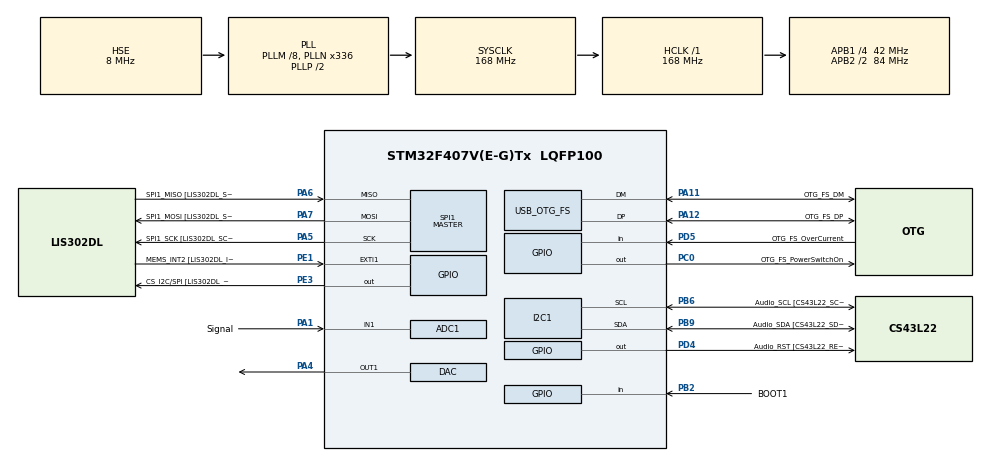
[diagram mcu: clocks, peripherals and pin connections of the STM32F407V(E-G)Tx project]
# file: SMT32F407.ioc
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ADC1.Channel-4\#ChannelRegularConversion=ADC_CHANNEL_1
ADC1.ClockPrescaler=ADC_CLOCK_SYNC_PCLK_DIV4
ADC1.ContinuousConvMode=ENABLE
ADC1.DMAContinuousRequests=ENABLE
ADC1.DataAlign=ADC_DATAALIGN_RIGHT
ADC1.DiscontinuousConvMode=DISABLE
ADC1.EOCSelection=ADC_EOC_SINGLE_CONV
ADC1.EnableAnalogWatchDog=false
ADC1.ExternalTrigConv=ADC_SOFTWARE_START
ADC1.ExternalTrigConvEdge=ADC_EXTERNALTRIGCONVEDGE_NONE
ADC1.InjNumberOfConversion=0
ADC1.NbrOfConversion=1
ADC1.NbrOfConversionFlag=1
ADC1.Rank-4\#ChannelRegularConversion=1
ADC1.Resolution=ADC_RESOLUTION_12B
ADC1.SamplingTime-4\#ChannelRegularConversion=ADC_SAMPLETIME_3CYCLES
ADC1.ScanConvMode=ENABLE
ADC1.master=1
Dma.ADC1.0.Direction=DMA_PERIPH_TO_MEMORY
Dma.ADC1.0.FIFOMode=DMA_FIFOMODE_DISABLE
Dma.ADC1.0.Instance=DMA2_Stream0
Dma.ADC1.0.MemDataAlignment=DMA_MDATAALIGN_HALFWORD
Dma.ADC1.0.MemInc=DMA_MINC_ENABLE
Dma.ADC1.0.Mode=DMA_CIRCULAR
Dma.ADC1.0.PeriphDataAlignment=DMA_PDATAALIGN_HALFWORD
Dma.ADC1.0.PeriphInc=DMA_PINC_DISABLE
Dma.ADC1.0.Priority=DMA_PRIORITY_LOW
Dma.Request0=ADC1
Mcu.Family=STM32F4
Mcu.Name=STM32F407V(E-G)Tx
Mcu.Package=LQFP100
NVIC.DMA2_Stream0_IRQn=true\:0\:0\:false\:false\:true\:false
NVIC.OTG_FS_IRQn=true\:0\:0\:false\:false\:true\:false
NVIC.PriorityGroup=NVIC_PRIORITYGROUP_0
NVIC.TIM3_IRQn=true\:0\:0\:false\:false\:true\:true
PA0-WKUP.Signal=UART4_TX
PA1.GPIO_Label=Signal
PA1.Signal=ADCx_IN1
PA10.GPIO_Label=OTG_FS_ID
PA10.GPIO_Mode=GPIO_MODE_AF_PP
PA10.GPIO_PuPd=GPIO_NOPULL
PA10.GPIO_Speed=GPIO_SPEED_FREQ_LOW
PA10.Signal=USB_OTG_FS_ID
PA11.GPIO_Label=OTG_FS_DM
PA11.GPIO_Mode=GPIO_MODE_AF_PP
PA11.GPIO_PuPd=GPIO_NOPULL
PA11.GPIO_Speed=GPIO_SPEED_FREQ_LOW
PA11.Mode=Device_Only
PA11.Signal=USB_OTG_FS_DM
PA12.GPIO_Label=OTG_FS_DP
PA12.GPIO_Mode=GPIO_MODE_AF_PP
PA12.GPIO_PuPd=GPIO_NOPULL
PA12.GPIO_Speed=GPIO_SPEED_FREQ_LOW
PA12.Mode=Device_Only
PA12.Signal=USB_OTG_FS_DP
PA13.GPIO_Label=SWDIO
PA13.Mode=Serial_Wire
PA13.Signal=SYS_JTMS-SWDIO
PA14.GPIO_Label=SWCLK
PA14.Mode=Serial_Wire
PA14.Signal=SYS_JTCK-SWCLK
PA4.Signal=COMP_DAC1_group
PA5.GPIO_Label=SPI1_SCK [LIS302DL_SCL/SPC]
PA5.GPIO_Mode=GPIO_MODE_AF_PP
PA5.GPIO_PuPd=GPIO_NOPULL
PA5.GPIO_Speed=GPIO_SPEED_FREQ_LOW
PA5.Mode=Full_Duplex_Master
PA5.Signal=SPI1_SCK
PA6.GPIO_Label=SPI1_MISO [LIS302DL_SDO]
PA6.GPIO_Mode=GPIO_MODE_AF_PP
PA6.GPIO_PuPd=GPIO_NOPULL
PA6.GPIO_Speed=GPIO_SPEED_FREQ_LOW
PA6.Mode=Full_Duplex_Master
PA6.Signal=SPI1_MISO
PA7.GPIO_Label=SPI1_MOSI [LIS302DL_SDA/SDI/SDO]
PA7.GPIO_Mode=GPIO_MODE_AF_PP
PA7.GPIO_PuPd=GPIO_NOPULL
PA7.GPIO_Speed=GPIO_SPEED_FREQ_LOW
PA7.Mode=Full_Duplex_Master
PA7.Signal=SPI1_MOSI
PA9.GPIO_Label=VBUS_FS
PA9.GPIO_Mode=GPIO_MODE_INPUT
PA9.GPIO_PuPd=GPIO_NOPULL
PA9.Signal=USB_OTG_FS_VBUS
PB10.GPIO_Label=CLK_IN [MP45DT02_CLK]
PB10.GPIO_Mode=GPIO_MODE_AF_PP
PB10.GPIO_PuPd=GPIO_NOPULL
PB10.GPIO_Speed=GPIO_SPEED_FREQ_LOW
PB10.Signal=I2S2_CK
PB2.GPIO_Label=BOOT1
PB2.GPIO_Mode=GPIO_MODE_INPUT
PB2.GPIO_PuPd=GPIO_NOPULL
PB2.Signal=GPIO_Input
PB3.GPIO_Label=SWO
PB3.Signal=SYS_JTDO-SWO
PB6.GPIO_Label=Audio_SCL [CS43L22_SCL]
PB6.GPIO_Mode=GPIO_MODE_AF_OD
PB6.GPIO_PuPd=GPIO_NOPULL
PB6.GPIO_Speed=GPIO_SPEED_FREQ_LOW
PB6.Mode=I2C
PB6.Signal=I2C1_SCL
PB9.GPIO_Label=Audio_SDA [CS43L22_SDA]
PB9.GPIO_Mode=GPIO_MODE_AF_OD
PB9.GPIO_PuPd=GPIO_NOPULL
PB9.GPIO_Speed=GPIO_SPEED_FREQ_LOW
PB9.Mode=I2C
PB9.Signal=I2C1_SDA
PC0.GPIO_Label=OTG_FS_PowerSwitchOn
PC0.GPIO_PuPd=GPIO_NOPULL
PC0.GPIO_Speed=GPIO_SPEED_FREQ_LOW
PC0.PinState=GPIO_PIN_SET
PC0.Signal=GPIO_Output
PC10.GPIO_Label=I2S3_SCK [CS43L22_SCLK]
PC10.GPIO_Mode=GPIO_MODE_AF_PP
PC10.GPIO_PuPd=GPIO_NOPULL
PC10.GPIO_Speed=GPIO_SPEED_FREQ_LOW
PC10.Signal=I2S3_CK
PC12.GPIO_Label=I2S3_SD [CS43L22_SDIN]
PC12.GPIO_Mode=GPIO_MODE_AF_PP
PC12.GPIO_PuPd=GPIO_NOPULL
PC12.GPIO_Speed=GPIO_SPEED_FREQ_LOW
PC12.Signal=I2S3_SD
PC14-OSC32_IN.GPIO_Label=PC14-OSC32_IN
PC14-OSC32_IN.Mode=LSE-External-Oscillator
PC14-OSC32_IN.Signal=RCC_OSC32_IN
PC15-OSC32_OUT.GPIO_Label=PC15-OSC32_OUT
PC15-OSC32_OUT.Mode=LSE-External-Oscillator
PC15-OSC32_OUT.Signal=RCC_OSC32_OUT
PC3.GPIO_Label=PDM_OUT [MP45DT02_DOUT]
PC3.GPIO_Mode=GPIO_MODE_AF_PP
PC3.GPIO_PuPd=GPIO_NOPULL
PC3.GPIO_Speed=GPIO_SPEED_FREQ_LOW
PC3.Signal=I2S2_SD
PC7.GPIO_Label=I2S3_MCK [CS43L22_MCLK]
PC7.GPIO_Mode=GPIO_MODE_AF_PP
PC7.GPIO_PuPd=GPIO_NOPULL
PC7.GPIO_Speed=GPIO_SPEED_FREQ_LOW
PC7.Signal=I2S3_MCK
PD4.GPIO_Label=Audio_RST [CS43L22_RESET]
PD4.GPIO_PuPd=GPIO_NOPULL
PD4.GPIO_Speed=GPIO_SPEED_FREQ_LOW
PD4.Signal=GPIO_Output
PD5.GPIO_Label=OTG_FS_OverCurrent
PD5.GPIO_Mode=GPIO_MODE_INPUT
PD5.GPIO_PuPd=GPIO_NOPULL
PD5.Signal=GPIO_Input
PE1.GPIO_Label=MEMS_INT2 [LIS302DL_INT2]
PE1.GPIO_ModeDefaultEXTI=GPIO_MODE_EVT_RISING
PE1.GPIO_PuPd=GPIO_NOPULL
PE1.Signal=GPXTI1
PE3.GPIO_Label=CS_I2C/SPI [LIS302DL_CS_I2C/SPI]
PE3.GPIO_PuPd=GPIO_NOPULL
PE3.GPIO_Speed=GPIO_SPEED_FREQ_LOW
PE3.Signal=GPIO_Output
PH0-OSC_IN.GPIO_Label=PH0-OSC_IN
PH0-OSC_IN.Mode=HSE-External-Oscillator
PH0-OSC_IN.Signal=RCC_OSC_IN
PH1-OSC_OUT.GPIO_Label=PH1-OSC_OUT
PH1-OSC_OUT.Mode=HSE-External-Oscillator
PH1-OSC_OUT.Signal=RCC_OSC_OUT
ProjectManager.HeapSize=0x200
ProjectManager.StackSize=0x400
ProjectManager.TargetToolchain=SW4STM32
RCC.48MHZClocksFreq_Value=48000000
RCC.AHBFreq_Value=168000000
RCC.APB1CLKDivider=RCC_HCLK_DIV4
RCC.APB1Freq_Value=42000000
RCC.APB1TimFreq_Value=84000000
RCC.APB2CLKDivider=RCC_HCLK_DIV2
RCC.APB2Freq_Value=84000000
RCC.APB2TimFreq_Value=168000000
RCC.CortexFreq_Value=168000000
RCC.HCLKFreq_Value=168000000
RCC.HSE_VALUE=8000000
RCC.HSI_VALUE=16000000
RCC.PLLM=8
RCC.PLLN=336
RCC.PLLQ=7
RCC.SYSCLKFreq_VALUE=168000000
RCC.SYSCLKSource=RCC_SYSCLKSOURCE_PLLCLK
RCC.VCOOutputFreq_Value=336000000
SH.ADCx_IN1.0=ADC1_IN1,IN1
SH.COMP_DAC1_group.0=DAC_OUT1,DAC_OUT1
SPI1.BaudRatePrescaler-Full_Duplex_Master=SPI_BAUDRATEPRESCALER_2
SPI1.CalculateBaudRate-Full_Duplex_Master=42.0 MBits/s
SPI1.Direction=SPI_DIRECTION_2LINES
SPI1.Mode=SPI_MODE_MASTER
SPI1.Mode-Full_Duplex_Master=SPI_MODE_MASTER
SPI1.VirtualType=VM_MASTER
TIM3.ClockDivision=TIM_CLOCKDIVISION_DIV1
TIM3.Period=1
TIM3.Prescaler=1749
USB_DEVICE.CLASS_NAME_FS=CDC
USB_DEVICE.VirtualMode-CDC_FS=Cdc
USB_DEVICE.VirtualModeFS=Cdc_FS
USB_OTG_FS.VirtualMode=Device_Only
VP_TIM3_VS_ClockSourceINT.Mode=Internal
VP_USB_DEVICE_VS_USB_DEVICE_CDC_FS.Mode=CDC_FS
board=STM32F4DISCOVERY

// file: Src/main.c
/**
  ******************************************************************************
  * @file           : main.c
  * @brief          : Main program body
  ******************************************************************************
  * This notice applies to any and all portions of this file
  * that are not between comment pairs USER CODE BEGIN and
  * USER CODE END. Other portions of this file, whether
  * inserted by the user or by software development tools
  * are owned by their respective copyright owners.
  *
  * Copyright (c) 2018 STMicroelectronics International N.V.
  * All rights reserved.
  *
  * Redistribution and use in source and binary forms, with or without
  * modification, are permitted, provided that the following conditions are met:
  *
  * 1. Redistribution of source code must retain the above copyright notice,
  *    this list of conditions and the following disclaimer.
  * 2. Redistributions in binary form must reproduce the above copyright notice,
  *    this list of conditions and the following disclaimer in the documentation
  *    and/or other materials provided with the distribution.
  * 3. Neither the name of STMicroelectronics nor the names of other
  *    contributors to this software may be used to endorse or promote products
  *    derived from this software without specific written permission.
  * 4. This software, including modifications and/or derivative works of this
  *    software, must execute solely and exclusively on microcontroller or
  *    microprocessor devices manufactured by or for STMicroelectronics.
  * 5. Redistribution and use of this software other than as permitted under
  *    this license is void and will automatically terminate your rights under
  *    this license.
  *
  * THIS SOFTWARE IS PROVIDED BY STMICROELECTRONICS AND CONTRIBUTORS "AS IS"
  * AND ANY EXPRESS, IMPLIED OR STATUTORY WARRANTIES, INCLUDING, BUT NOT
  * LIMITED TO, THE IMPLIED WARRANTIES OF MERCHANTABILITY, FITNESS FOR A
  * PARTICULAR PURPOSE AND NON-INFRINGEMENT OF THIRD PARTY INTELLECTUAL PROPERTY
  * RIGHTS ARE DISCLAIMED TO THE FULLEST EXTENT PERMITTED BY LAW. IN NO EVENT
  * SHALL STMICROELECTRONICS OR CONTRIBUTORS BE LIABLE FOR ANY DIRECT, INDIRECT,
  * INCIDENTAL, SPECIAL, EXEMPLARY, OR CONSEQUENTIAL DAMAGES (INCLUDING, BUT NOT
  * LIMITED TO, PROCUREMENT OF SUBSTITUTE GOODS OR SERVICES; LOSS OF USE, DATA,
  * OR PROFITS; OR BUSINESS INTERRUPTION) HOWEVER CAUSED AND ON ANY THEORY OF
  * LIABILITY, WHETHER IN CONTRACT, STRICT LIABILITY, OR TORT (INCLUDING
  * NEGLIGENCE OR OTHERWISE) ARISING IN ANY WAY OUT OF THE USE OF THIS SOFTWARE,
  * EVEN IF ADVISED OF THE POSSIBILITY OF SUCH DAMAGE.
  *
  ******************************************************************************
  */
#include "main.h"
#include "stm32f4xx_hal.h"
#include "usb_device.h"

/* USER CODE BEGIN Includes */
#include <stdio.h>
#include <stdlib.h>
#include <math.h>
#include <string.h>
#include "usbd_cdc_if.h"
/* USER CODE END Includes */

ADC_HandleTypeDef hadc1;
DMA_HandleTypeDef hdma_adc1;

DAC_HandleTypeDef hdac;

I2C_HandleTypeDef hi2c1;

SPI_HandleTypeDef hspi1;

TIM_HandleTypeDef htim3;

/* USER CODE BEGIN PV */
/* Private variables ---------------------------------------------------------*/

/*---------------Variables globale---------------------*/
uint16_t Fe = 48000; //Fréquence d'échantillonnage
uint16_t DAC_data;
uint16_t ADC_data[1];

int i = 0;

/*---------------Variables filtres---------------------*/
uint8_t numeroFiltre;
uint8_t wc_stk; //fréquence de coupure
uint8_t w0_stk;
uint8_t Q;
float wc;
float w0;

float signal[3]; // signal[t, t-1]
float stk_signal1 = 0;
float stk_signal2 = 0;

float sortie[3]; // sortie[t, t-1]
float stk_sortie1 = 0;
float stk_sortie2 = 0;

/*---------------Variables ADSR---------------------*/
float t;
float ti = 0;
uint8_t choixADSR;
uint8_t stk_A;
uint8_t stk_R;
float A;
float R;

/* USER CODE END PV */

void SystemClock_Config(void);
static void MX_GPIO_Init(void);
static void MX_DMA_Init(void);
static void MX_I2C1_Init(void);
static void MX_SPI1_Init(void);
static void MX_DAC_Init(void);
static void MX_ADC1_Init(void);
static void MX_TIM3_Init(void);

/* USER CODE BEGIN PFP */
/* Private function prototypes -----------------------------------------------*/

/* USER CODE END PFP */

/* USER CODE BEGIN 0 */

/*********************** Fonction des filtres numériques ***************************************/

void filtrePasseBas(float wc) {

	stk_sortie2 = sortie[2];
	stk_sortie1 = sortie[1];

	sortie[0] = stk_sortie1;
	sortie[1] = stk_sortie2;

	sortie[2] = ((wc*wc)*signal[2] + (2.0*wc)*signal[1] + (wc*wc)*signal[0] - (4.0*Fe*Fe - 4.0*wc*Fe + wc*wc)*sortie[0] - (-8.0*Fe*Fe + 2.0*wc*wc)*sortie[1]) / (4.0*Fe*Fe + 4.0*wc*Fe + wc*wc);

}

void filtrePasseHaut(float wc) {

	stk_sortie2 = sortie[2] + 1900;
	stk_sortie1 = sortie[1] + 1900;

	sortie[0] = stk_sortie1;
	sortie[1] = stk_sortie2;

	sortie[2] = (4.0*Fe*Fe*signal[2] - 8.0*Fe*Fe*signal[1] + 4.0*Fe*Fe*signal[0] - (4.0*Fe*Fe - 4.0*Fe*wc + wc*wc)*sortie[0] - (-8.0*Fe*Fe + 2.0*wc*wc)*sortie[1]) / (4.0*Fe*Fe + 4.0*Fe*wc + wc*wc);

}

void filtrePasseBande(float w0, float Q) {
	stk_sortie2 = sortie[2] + 2048;
	stk_sortie1 = sortie[1] + 2048;

	sortie[0] = stk_sortie1;
	sortie[1] = stk_sortie2;

	sortie[2] = (2.0*w0*Fe*signal[2] - 2.0*w0*Fe*signal[0] + (8.0*Q*Fe*Fe - 2.0*Q*w0*w0)*sortie[1] + (2.0*Fe*w0 - 4.0*Q*Fe*Fe - Q*w0*w0)*sortie[0]) / (2.0*Fe*w0 + 4.0*Q*Fe*Fe + Q*w0*w0);

}

void filtreCoupeBande(float w0,float Q) {
	stk_sortie2 = sortie[2];
	stk_sortie1 = sortie[1];

	sortie[0] = stk_sortie1;
	sortie[1] = stk_sortie2;

	sortie[2] = ((4.0*Q*Fe*Fe + Q*w0*w0)*signal[2] + (2.0*Q*w0*w0 - 8.0*Q*Fe*Fe)*signal[1] + (4*Q*Fe*Fe + Q*w0*w0)*signal[0] + (8.0*Q*Fe*Fe - 2.0*Q*w0*w0)*sortie[1] + (2.0*Fe*w0 - 4.0*Q*Fe*Fe - Q*w0*w0)*sortie[0])/(2.0*Fe*w0 + 4.0*Q*Fe*Fe + Q*w0*w0);

}

void filtrePasseTout() {
	sortie[2] = signal[2];
}

/*********************** Choix du filtre ***************************************/

void choixFiltre(int numeroFiltre) {
	stk_signal2 = signal[2];
	stk_signal1 = signal[1];

	signal[0] = stk_signal1;
	signal[1] = stk_signal2;

	signal[2] = ADC_data[0];

	switch(numeroFiltre) {

	case 1:
		filtrePasseBas(wc);
		break;

	case 2:
		filtrePasseHaut(wc);
		break;

	case 3:
		filtrePasseBande(w0, Q);
		break;

	case 4:
		filtreCoupeBande(w0, Q);
		break;

	default:
		filtrePasseTout();

	}
}

/*********************** Codage de l'enveloppe ADSR ***************************************/

void enveloppeADSR(float adsr_A, float adsr_R, float ti) {
/*
 * L'enveloppe est difficile à réglé
 * Je ne sais pas pourquoi on obtient des écart qui peuvent être important
 * avec une simulation théorique sur Matlab
 * (le programme interprete x*sin(x) par x + x*sin(x) par exemple)
 * J'ai essayé de réduire ces écarts mais qui sont toujours présent et qui semblent s'amplifier
 * après chque modification des paramètres
 */
	t = adsr_A + 0.5 + adsr_R;

	stk_signal2 = signal[2];
	stk_signal1 = signal[1];

	signal[0] = stk_signal1;
	signal[1] = stk_signal2;

	signal[2] = ADC_data[0];

	if (ti < adsr_A) {
		sortie[2] = signal[2] * ti/adsr_A + 2000.0 - (2000.0/adsr_A)*ti;
	} else if (ti >= adsr_A && ti < adsr_A + 0.2) {
		sortie[2] = 0.5 * signal[2] * ((t - ti)/0.3 - 0.2/0.3) + 2500 - (750.0/0.3)*(t - ti);
	} else if (ti >= adsr_A + 0.2 && ti < adsr_A + 0.5) {
		sortie[2] = signal[2] * 0.5 + 1250.0;
	} else if (ti >= adsr_A + 0.5 && ti < t) {
		sortie[2] = signal[2] *  0.5 * (t - ti)/adsr_R + 2000.0 - (750.0/adsr_R)*(t - ti);
	} else {
		sortie[2] = 0;
	}

}

/*********************** Communication par le port USB virtuel ***************************************/

void CDC_ReceiveCallBack(uint8_t *buff, uint32_t len) {
	/*
	 * On lit les bits envoyés par l'interface grqphique
	 * On sait que chaque paramètre est séparé par une ','
	 * Les bits reçus sont codé en ASCII donc pour avoir la bonne représentation il faut faire
	 * bit - 48
	 */

	// Variables de stockages
	i = 0;
	numeroFiltre = 0;
	wc = 0;
	w0 = 0;
	Q = 0;
	choixADSR = 0;
	stk_A = 0;
	A = 0;
	stk_R = 0;
	R = 0;

	int fin;
	numeroFiltre = buff[0] - 48;
	i += 2;
	fin  = i;

	//On parcours les données jusqu'à une virgule
	while (buff[i] != ',') {
		i++;
	}
	for (int j = 2; j < i; j++) {
		wc_stk += (buff[j]-48) * pow(10, i-1-j);
	}
	wc = 2*3.14*wc_stk;
	i += 1;
	fin  = i;

	while (buff[i] != ',') {
		i++;
	}
	for (int j = fin; j < i; j++) {
		w0_stk += (buff[j]-48) * pow(10, i-1-j);
	}
	w0 = 2*3.14*w0_stk;
	i += 1;
	fin  = i;

	while (buff[i] != ',') {
			i++;
	}
	for (int j = fin; j < i; j++) {
		Q += (buff[j]-48) * pow(10, i-1-j);
	}
	i += 1;
	fin  = i;

	while (buff[i] != ',') {
		i++;
	}
	for (int j = fin; j < i; j++) {
		choixADSR += (buff[j]-48) * pow(10, i-1-j);
	}
	i += 1;
	fin  = i;

	while (buff[i] != ',') {
		i++;
	}
	for (int j = fin; j < i; j++) {
		stk_A += (buff[j]-48) * pow(10, i-1-j);
	}
	A = (float)stk_A/1000.0;
	i += 1;
	fin  = i;

	while (buff[i] != ',') {
		i++;
	}
	for (int j = fin; j < i; j++) {
		stk_R += (buff[j]-48) * pow(10, i-1-j);
	}
	R = (float)stk_R/1000.0;
	i += 1;
	fin  = i;

	CDC_Transmit_FS(buff, len);
}

void HAL_TIM_PeriodElapsedCallback(TIM_HandleTypeDef *htim) {
    if (htim->Instance == TIM3) { //On vérifie le timer pour l'interruption

    	    choixFiltre(numeroFiltre); // On choisi le filtre

    	    if (choixADSR == 1) { // On regarde si on veut l'enveloppe ADSR
    	        enveloppeADSR(A, R, ti);
    	        ti  = ti + 1.0/Fe;
      		}

    	    // On écrit sur le DAC
    	    HAL_DAC_SetValue(&hdac, DAC_CHANNEL_1,  DAC_ALIGN_12B_R, (uint16_t)(sortie[2]));
    	    DAC_data = HAL_DAC_GetValue(&hdac, DAC_CHANNEL_1);

    }
}

/* USER CODE END 0 */

int main(void)
{

  /* MCU Configuration----------------------------------------------------------*/

  /* Reset of all peripherals, Initializes the Flash interface and the Systick. */
  HAL_Init();

  /* Configure the system clock */
  SystemClock_Config();

  /* Initialize all configured peripherals */
  MX_GPIO_Init();
  MX_DMA_Init();
  MX_I2C1_Init();
  MX_SPI1_Init();
  MX_DAC_Init();
  MX_ADC1_Init();
  MX_TIM3_Init();
  MX_USB_DEVICE_Init();
  /* USER CODE BEGIN 2 */
  /*
   * On initie l'ADC, le DAC, et le timer
   */
  HAL_ADC_Start_DMA(&hadc1, (uint32_t*)ADC_data, 1);
  HAL_DAC_Start(&hdac, DAC_CHANNEL_1);
  HAL_TIM_Base_Start_IT(&htim3);
  /* USER CODE END 2 */

  /* Infinite loop */
  while (1)
  {

  /* USER CODE BEGIN 3 */
	  /*
	   *
	   * On a rien dans la boucle while car on fonctionne qu'avec des interruptions :
	   * interruption sur le timer3 pour l'ADC
	   * interruption globale pour la communication avec le port USB virtuel
	   *
	   */
  }
  /* USER CODE END 3 */

}

void SystemClock_Config(void)
{

  RCC_OscInitTypeDef RCC_OscInitStruct;
  RCC_ClkInitTypeDef RCC_ClkInitStruct;

    /**Configure the main internal regulator output voltage
    */
  __HAL_RCC_PWR_CLK_ENABLE();

  __HAL_PWR_VOLTAGESCALING_CONFIG(PWR_REGULATOR_VOLTAGE_SCALE1);

    /**Initializes the CPU, AHB and APB busses clocks
    */
  RCC_OscInitStruct.OscillatorType = RCC_OSCILLATORTYPE_HSE;
  RCC_OscInitStruct.HSEState = RCC_HSE_ON;
  RCC_OscInitStruct.PLL.PLLState = RCC_PLL_ON;
  RCC_OscInitStruct.PLL.PLLSource = RCC_PLLSOURCE_HSE;
  RCC_OscInitStruct.PLL.PLLM = 8;
  RCC_OscInitStruct.PLL.PLLN = 336;
  RCC_OscInitStruct.PLL.PLLP = RCC_PLLP_DIV2;
  RCC_OscInitStruct.PLL.PLLQ = 7;
  if (HAL_RCC_OscConfig(&RCC_OscInitStruct) != HAL_OK)
  {
    _Error_Handler(__FILE__, __LINE__);
  }

    /**Initializes the CPU, AHB and APB busses clocks
    */
  RCC_ClkInitStruct.ClockType = RCC_CLOCKTYPE_HCLK|RCC_CLOCKTYPE_SYSCLK
                              |RCC_CLOCKTYPE_PCLK1|RCC_CLOCKTYPE_PCLK2;
  RCC_ClkInitStruct.SYSCLKSource = RCC_SYSCLKSOURCE_PLLCLK;
  RCC_ClkInitStruct.AHBCLKDivider = RCC_SYSCLK_DIV1;
  RCC_ClkInitStruct.APB1CLKDivider = RCC_HCLK_DIV4;
  RCC_ClkInitStruct.APB2CLKDivider = RCC_HCLK_DIV2;

  if (HAL_RCC_ClockConfig(&RCC_ClkInitStruct, FLASH_LATENCY_5) != HAL_OK)
  {
    _Error_Handler(__FILE__, __LINE__);
  }

    /**Configure the Systick interrupt time
    */
  HAL_SYSTICK_Config(HAL_RCC_GetHCLKFreq()/1000);

    /**Configure the Systick
    */
  HAL_SYSTICK_CLKSourceConfig(SYSTICK_CLKSOURCE_HCLK);

  /* SysTick_IRQn interrupt configuration */
  HAL_NVIC_SetPriority(SysTick_IRQn, 0, 0);
}

/* ADC1 init function */
static void MX_ADC1_Init(void)
{

  ADC_ChannelConfTypeDef sConfig;

    /**Configure the global features of the ADC (Clock, Resolution, Data Alignment and number of conversion)
    */
  hadc1.Instance = ADC1;
  hadc1.Init.ClockPrescaler = ADC_CLOCK_SYNC_PCLK_DIV4;
  hadc1.Init.Resolution = ADC_RESOLUTION_12B;
  hadc1.Init.ScanConvMode = ENABLE;
  hadc1.Init.ContinuousConvMode = ENABLE;
  hadc1.Init.DiscontinuousConvMode = DISABLE;
  hadc1.Init.ExternalTrigConvEdge = ADC_EXTERNALTRIGCONVEDGE_NONE;
  hadc1.Init.ExternalTrigConv = ADC_SOFTWARE_START;
  hadc1.Init.DataAlign = ADC_DATAALIGN_RIGHT;
  hadc1.Init.NbrOfConversion = 1;
  hadc1.Init.DMAContinuousRequests = ENABLE;
  hadc1.Init.EOCSelection = ADC_EOC_SINGLE_CONV;
  if (HAL_ADC_Init(&hadc1) != HAL_OK)
  {
    _Error_Handler(__FILE__, __LINE__);
  }

    /**Configure for the selected ADC regular channel its corresponding rank in the sequencer and its sample time.
    */
  sConfig.Channel = ADC_CHANNEL_1;
  sConfig.Rank = 1;
  sConfig.SamplingTime = ADC_SAMPLETIME_3CYCLES;
  if (HAL_ADC_ConfigChannel(&hadc1, &sConfig) != HAL_OK)
  {
    _Error_Handler(__FILE__, __LINE__);
  }

}

/* DAC init function */
static void MX_DAC_Init(void)
{

  DAC_ChannelConfTypeDef sConfig;

    /**DAC Initialization
    */
  hdac.Instance = DAC;
  if (HAL_DAC_Init(&hdac) != HAL_OK)
  {
    _Error_Handler(__FILE__, __LINE__);
  }

    /**DAC channel OUT1 config
    */
  sConfig.DAC_Trigger = DAC_TRIGGER_NONE;
  sConfig.DAC_OutputBuffer = DAC_OUTPUTBUFFER_ENABLE;
  if (HAL_DAC_ConfigChannel(&hdac, &sConfig, DAC_CHANNEL_1) != HAL_OK)
  {
    _Error_Handler(__FILE__, __LINE__);
  }

}

/* I2C1 init function */
static void MX_I2C1_Init(void)
{

  hi2c1.Instance = I2C1;
  hi2c1.Init.ClockSpeed = 100000;
  hi2c1.Init.DutyCycle = I2C_DUTYCYCLE_2;
  hi2c1.Init.OwnAddress1 = 0;
  hi2c1.Init.AddressingMode = I2C_ADDRESSINGMODE_7BIT;
  hi2c1.Init.DualAddressMode = I2C_DUALADDRESS_DISABLE;
  hi2c1.Init.OwnAddress2 = 0;
  hi2c1.Init.GeneralCallMode = I2C_GENERALCALL_DISABLE;
  hi2c1.Init.NoStretchMode = I2C_NOSTRETCH_DISABLE;
  if (HAL_I2C_Init(&hi2c1) != HAL_OK)
  {
    _Error_Handler(__FILE__, __LINE__);
  }

}

/* SPI1 init function */
static void MX_SPI1_Init(void)
{

  /* SPI1 parameter configuration*/
  hspi1.Instance = SPI1;
  hspi1.Init.Mode = SPI_MODE_MASTER;
  hspi1.Init.Direction = SPI_DIRECTION_2LINES;
  hspi1.Init.DataSize = SPI_DATASIZE_8BIT;
  hspi1.Init.CLKPolarity = SPI_POLARITY_LOW;
  hspi1.Init.CLKPhase = SPI_PHASE_1EDGE;
  hspi1.Init.NSS = SPI_NSS_SOFT;
  hspi1.Init.BaudRatePrescaler = SPI_BAUDRATEPRESCALER_2;
  hspi1.Init.FirstBit = SPI_FIRSTBIT_MSB;
  hspi1.Init.TIMode = SPI_TIMODE_DISABLE;
  hspi1.Init.CRCCalculation = SPI_CRCCALCULATION_DISABLE;
  hspi1.Init.CRCPolynomial = 10;
  if (HAL_SPI_Init(&hspi1) != HAL_OK)
  {
    _Error_Handler(__FILE__, __LINE__);
  }

}

/* TIM3 init function */
static void MX_TIM3_Init(void)
{

  TIM_ClockConfigTypeDef sClockSourceConfig;
  TIM_MasterConfigTypeDef sMasterConfig;

  htim3.Instance = TIM3;
  htim3.Init.Prescaler = 1749;
  htim3.Init.CounterMode = TIM_COUNTERMODE_UP;
  htim3.Init.Period = 1;
  htim3.Init.ClockDivision = TIM_CLOCKDIVISION_DIV1;
  if (HAL_TIM_Base_Init(&htim3) != HAL_OK)
  {
    _Error_Handler(__FILE__, __LINE__);
  }

  sClockSourceConfig.ClockSource = TIM_CLOCKSOURCE_INTERNAL;
  if (HAL_TIM_ConfigClockSource(&htim3, &sClockSourceConfig) != HAL_OK)
  {
    _Error_Handler(__FILE__, __LINE__);
  }

  sMasterConfig.MasterOutputTrigger = TIM_TRGO_RESET;
  sMasterConfig.MasterSlaveMode = TIM_MASTERSLAVEMODE_DISABLE;
  if (HAL_TIMEx_MasterConfigSynchronization(&htim3, &sMasterConfig) != HAL_OK)
  {
    _Error_Handler(__FILE__, __LINE__);
  }

}

static void MX_DMA_Init(void)
{
  /* DMA controller clock enable */
  __HAL_RCC_DMA2_CLK_ENABLE();

  /* DMA interrupt init */
  /* DMA2_Stream0_IRQn interrupt configuration */
  HAL_NVIC_SetPriority(DMA2_Stream0_IRQn, 0, 0);
  HAL_NVIC_EnableIRQ(DMA2_Stream0_IRQn);

}

/** Configure pins as
        * Analog
        * Input
        * Output
        * EVENT_OUT
        * EXTI
     PC3   ------> I2S2_SD
     PA0-WKUP   ------> UART4_TX
     PB10   ------> I2S2_CK
     PC7   ------> I2S3_MCK
     PC10   ------> I2S3_CK
     PC12   ------> I2S3_SD
*/
static void MX_GPIO_Init(void)
{

  GPIO_InitTypeDef GPIO_InitStruct;

  /* GPIO Ports Clock Enable */
  __HAL_RCC_GPIOE_CLK_ENABLE();
  __HAL_RCC_GPIOC_CLK_ENABLE();
  __HAL_RCC_GPIOH_CLK_ENABLE();
  __HAL_RCC_GPIOA_CLK_ENABLE();
  __HAL_RCC_GPIOB_CLK_ENABLE();
  __HAL_RCC_GPIOD_CLK_ENABLE();

  /*Configure GPIO pin Output Level */
  HAL_GPIO_WritePin(CS_I2C_SPI_GPIO_Port, CS_I2C_SPI_Pin, GPIO_PIN_RESET);

  /*Configure GPIO pin Output Level */
  HAL_GPIO_WritePin(OTG_FS_PowerSwitchOn_GPIO_Port, OTG_FS_PowerSwitchOn_Pin, GPIO_PIN_SET);

  /*Configure GPIO pin Output Level */
  HAL_GPIO_WritePin(Audio_RST_GPIO_Port, Audio_RST_Pin, GPIO_PIN_RESET);

  /*Configure GPIO pin : CS_I2C_SPI_Pin */
  GPIO_InitStruct.Pin = CS_I2C_SPI_Pin;
  GPIO_InitStruct.Mode = GPIO_MODE_OUTPUT_PP;
  GPIO_InitStruct.Pull = GPIO_NOPULL;
  GPIO_InitStruct.Speed = GPIO_SPEED_FREQ_LOW;
  HAL_GPIO_Init(CS_I2C_SPI_GPIO_Port, &GPIO_InitStruct);

  /*Configure GPIO pin : OTG_FS_PowerSwitchOn_Pin */
  GPIO_InitStruct.Pin = OTG_FS_PowerSwitchOn_Pin;
  GPIO_InitStruct.Mode = GPIO_MODE_OUTPUT_PP;
  GPIO_InitStruct.Pull = GPIO_NOPULL;
  GPIO_InitStruct.Speed = GPIO_SPEED_FREQ_LOW;
  HAL_GPIO_Init(OTG_FS_PowerSwitchOn_GPIO_Port, &GPIO_InitStruct);

  /*Configure GPIO pin : PDM_OUT_Pin */
  GPIO_InitStruct.Pin = PDM_OUT_Pin;
  GPIO_InitStruct.Mode = GPIO_MODE_AF_PP;
  GPIO_InitStruct.Pull = GPIO_NOPULL;
  GPIO_InitStruct.Speed = GPIO_SPEED_FREQ_LOW;
  GPIO_InitStruct.Alternate = GPIO_AF5_SPI2;
  HAL_GPIO_Init(PDM_OUT_GPIO_Port, &GPIO_InitStruct);

  /*Configure GPIO pin : PA0 */
  GPIO_InitStruct.Pin = GPIO_PIN_0;
  GPIO_InitStruct.Mode = GPIO_MODE_AF_PP;
  GPIO_InitStruct.Pull = GPIO_NOPULL;
  GPIO_InitStruct.Speed = GPIO_SPEED_FREQ_VERY_HIGH;
  GPIO_InitStruct.Alternate = GPIO_AF8_UART4;
  HAL_GPIO_Init(GPIOA, &GPIO_InitStruct);

  /*Configure GPIO pin : BOOT1_Pin */
  GPIO_InitStruct.Pin = BOOT1_Pin;
  GPIO_InitStruct.Mode = GPIO_MODE_INPUT;
  GPIO_InitStruct.Pull = GPIO_NOPULL;
  HAL_GPIO_Init(BOOT1_GPIO_Port, &GPIO_InitStruct);

  /*Configure GPIO pin : CLK_IN_Pin */
  GPIO_InitStruct.Pin = CLK_IN_Pin;
  GPIO_InitStruct.Mode = GPIO_MODE_AF_PP;
  GPIO_InitStruct.Pull = GPIO_NOPULL;
  GPIO_InitStruct.Speed = GPIO_SPEED_FREQ_LOW;
  GPIO_InitStruct.Alternate = GPIO_AF5_SPI2;
  HAL_GPIO_Init(CLK_IN_GPIO_Port, &GPIO_InitStruct);

  /*Configure GPIO pins : I2S3_MCK_Pin I2S3_SCK_Pin I2S3_SD_Pin */
  GPIO_InitStruct.Pin = I2S3_MCK_Pin|I2S3_SCK_Pin|I2S3_SD_Pin;
  GPIO_InitStruct.Mode = GPIO_MODE_AF_PP;
  GPIO_InitStruct.Pull = GPIO_NOPULL;
  GPIO_InitStruct.Speed = GPIO_SPEED_FREQ_LOW;
  GPIO_InitStruct.Alternate = GPIO_AF6_SPI3;
  HAL_GPIO_Init(GPIOC, &GPIO_InitStruct);

  /*Configure GPIO pin : Audio_RST_Pin */
  GPIO_InitStruct.Pin = Audio_RST_Pin;
  GPIO_InitStruct.Mode = GPIO_MODE_OUTPUT_PP;
  GPIO_InitStruct.Pull = GPIO_NOPULL;
  GPIO_InitStruct.Speed = GPIO_SPEED_FREQ_LOW;
  HAL_GPIO_Init(Audio_RST_GPIO_Port, &GPIO_InitStruct);

  /*Configure GPIO pin : OTG_FS_OverCurrent_Pin */
  GPIO_InitStruct.Pin = OTG_FS_OverCurrent_Pin;
  GPIO_InitStruct.Mode = GPIO_MODE_INPUT;
  GPIO_InitStruct.Pull = GPIO_NOPULL;
  HAL_GPIO_Init(OTG_FS_OverCurrent_GPIO_Port, &GPIO_InitStruct);

  /*Configure GPIO pin : MEMS_INT2_Pin */
  GPIO_InitStruct.Pin = MEMS_INT2_Pin;
  GPIO_InitStruct.Mode = GPIO_MODE_EVT_RISING;
  GPIO_InitStruct.Pull = GPIO_NOPULL;
  HAL_GPIO_Init(MEMS_INT2_GPIO_Port, &GPIO_InitStruct);

}

void _Error_Handler(char *file, int line)
{
  while(1)
  {
  }
}

/************************ (C) COPYRIGHT STMicroelectronics *****END OF FILE****/
